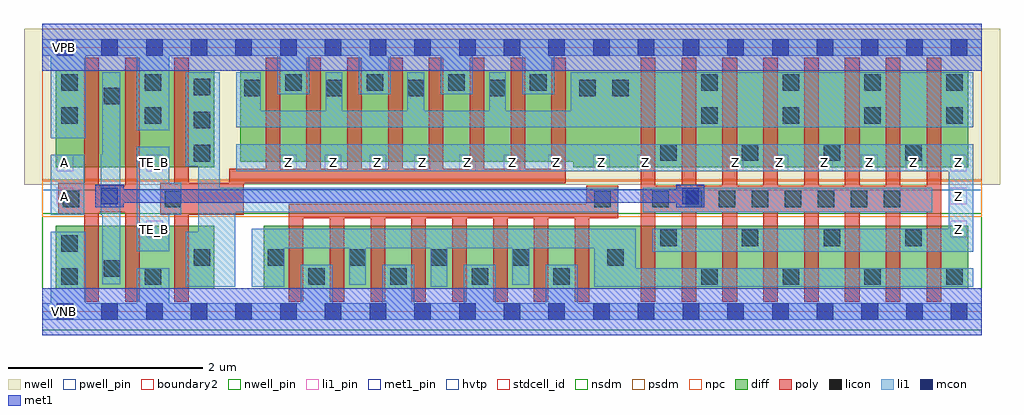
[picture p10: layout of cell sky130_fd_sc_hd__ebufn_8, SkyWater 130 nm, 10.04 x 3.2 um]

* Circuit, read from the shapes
.subckt sky130_fd_sc_hd__ebufn_8 A TE_B VGND VNB VPB VPWR Z
XM1 n1 A VGND VNB sky130_fd_pr__nfet_01v8 w=0.65 l=0.15 m=2
XM2 n2 TE_B VGND VNB sky130_fd_pr__nfet_01v8 w=0.65 l=0.15
XM3 VGND n2 n3 VNB sky130_fd_pr__nfet_01v8 w=0.65 l=0.15 m=8
XM4 Z n1 n3 VNB sky130_fd_pr__nfet_01v8 w=0.65 l=0.15 m=8
XM5 n1 A VPWR VPB sky130_fd_pr__pfet_01v8_hvt w=1 l=0.15 m=2
XM6 n2 TE_B VPWR VPB sky130_fd_pr__pfet_01v8_hvt w=1 l=0.15
XM7 VPWR TE_B n4 VPB sky130_fd_pr__pfet_01v8_hvt w=0.94 l=0.15 m=8
XM8 Z n1 n4 VPB sky130_fd_pr__pfet_01v8_hvt w=1 l=0.15 m=8
.ends

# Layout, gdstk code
import gdstk
lib = gdstk.Library(unit=1e-6, precision=1e-09)
def R(c, l, rs):  # rectangles x0, y0, x1, y1
    for r in rs: c.add(gdstk.rectangle(r[:2], r[2:], *l))
def A(c, l, x, y, w, h, nx, ny, dx, dy):  # array of equal rectangles
    R(c, l, [(x+i*dx, y+j*dy, x+i*dx+w, y+j*dy+h) for i in range(nx) for j in range(ny)])
def P(c, l, *ps):  # polygons
    for p in ps: c.add(gdstk.Polygon(p, *l))
nwell_pin = (64, 16)
nwell = (64, 20)
diff = (65, 20)
poly = (66, 20)
licon = (66, 44)
li1_pin = (67, 16)
li1 = (67, 20)
mcon = (67, 44)
met1_pin = (68, 16)
met1 = (68, 20)
hvtp = (78, 44)
stdcell_id = (81, 4)
nsdm = (93, 44)
psdm = (94, 20)
npc = (95, 20)
pwell_pin = (122, 16)
boundary2 = (236, 0)

sky130_fd_sc_hd__ebufn_8 = lib.new_cell('sky130_fd_sc_hd__ebufn_8')
R(sky130_fd_sc_hd__ebufn_8, nwell_pin, [(0.145,2.635,0.315,2.805)])
R(sky130_fd_sc_hd__ebufn_8, nwell, [(-0.19,1.305,9.85,2.91)])
R(sky130_fd_sc_hd__ebufn_8, diff, [(0.135,0.235,1.765,0.885), (2.275,0.235,9.525,0.885), (0.135,1.485,1.765,2.485)])
P(sky130_fd_sc_hd__ebufn_8, diff, [(5.46,1.485),(5.46,1.545),(2.035,1.545),(2.035,2.485),(9.525,2.485),(9.525,1.485)])
P(sky130_fd_sc_hd__ebufn_8, poly, [(2.535,0.105),(2.535,1.11),(5.595,1.11),(5.595,1.295),(5.925,1.295),(5.925,0.96),(5.625,0.96),(5.625,0.105),(5.475,0.105),(5.475,0.96),(5.205,0.96),(5.205,0.105),(5.055,0.105),(5.055,0.96),(4.785,0.96),(4.785,0.105),(4.635,0.105),(4.635,0.96),(4.365,0.96),(4.365,0.105),(4.215,0.105),(4.215,0.96),(3.945,0.96),(3.945,0.105),(3.795,0.105),(3.795,0.96),(3.525,0.96),(3.525,0.105),(3.375,0.105),(3.375,0.96),(3.105,0.96),(3.105,0.105),(2.955,0.105),(2.955,0.96),(2.685,0.96),(2.685,0.105)],
  [(0.43,0.105),(0.43,0.995),(0.16,0.995),(0.16,1.325),(0.43,1.325),(0.43,2.615),(0.58,2.615),(0.58,1.295),(0.85,1.295),(0.85,2.615),(1,2.615),(1,0.105),(0.85,0.105),(0.85,1.025),(0.58,1.025),(0.58,0.105)],
  [(1.355,0.105),(1.355,0.995),(1.21,0.995),(1.21,1.325),(1.355,1.325),(1.355,2.615),(1.505,2.615),(1.505,1.325),(1.92,1.325),(1.92,1.47),(2.295,1.47),(2.295,2.615),(2.445,2.615),(2.445,1.47),(2.715,1.47),(2.715,2.615),(2.865,2.615),(2.865,1.47),(3.135,1.47),(3.135,2.615),(3.285,2.615),(3.285,1.47),(3.555,1.47),(3.555,2.615),(3.705,2.615),(3.705,1.47),(3.975,1.47),(3.975,2.615),(4.125,2.615),(4.125,1.47),(4.395,1.47),(4.395,2.615),(4.545,2.615),(4.545,1.47),(4.815,1.47),(4.815,2.615),(4.965,2.615),(4.965,1.47),(5.235,1.47),(5.235,2.615),(5.385,2.615),(5.385,1.32),(2.07,1.32),(2.07,0.995),(1.505,0.995),(1.505,0.105)],
  [(6.155,0.105),(6.155,2.615),(6.305,2.615),(6.305,1.295),(6.575,1.295),(6.575,2.615),(6.725,2.615),(6.725,1.295),(6.995,1.295),(6.995,2.615),(7.145,2.615),(7.145,1.295),(7.415,1.295),(7.415,2.615),(7.565,2.615),(7.565,1.295),(7.835,1.295),(7.835,2.615),(7.985,2.615),(7.985,1.295),(8.255,1.295),(8.255,2.615),(8.405,2.615),(8.405,1.295),(8.675,1.295),(8.675,2.615),(8.825,2.615),(8.825,1.295),(9.095,1.295),(9.095,2.615),(9.245,2.615),(9.245,0.105),(9.095,0.105),(9.095,1.025),(8.825,1.025),(8.825,0.105),(8.675,0.105),(8.675,1.025),(8.405,1.025),(8.405,0.105),(8.255,0.105),(8.255,1.025),(7.985,1.025),(7.985,0.105),(7.835,0.105),(7.835,1.025),(7.565,1.025),(7.565,0.105),(7.415,0.105),(7.415,1.025),(7.145,1.025),(7.145,0.105),(6.995,0.105),(6.995,1.025),(6.725,1.025),(6.725,0.105),(6.575,0.105),(6.575,1.025),(6.305,1.025),(6.305,0.105)])
A(sky130_fd_sc_hd__ebufn_8, licon, 2.735, 0.275, 0.17, 0.17, 4, 1, 0.84, 0)
A(sky130_fd_sc_hd__ebufn_8, licon, 6.775, 0.275, 0.17, 0.17, 4, 2, 0.84, 1.66)
A(sky130_fd_sc_hd__ebufn_8, licon, 2.315, 0.475, 0.17, 0.17, 4, 1, 0.84, 0)
A(sky130_fd_sc_hd__ebufn_8, licon, 6.355, 0.675, 0.17, 0.17, 4, 2, 0.84, 0.88)
A(sky130_fd_sc_hd__ebufn_8, licon, 6.275, 1.075, 0.17, 0.17, 8, 1, 0.34, 0)
A(sky130_fd_sc_hd__ebufn_8, licon, 1.555, 1.545, 0.17, 0.17, 1, 3, 0, 0.34)
A(sky130_fd_sc_hd__ebufn_8, licon, 2.075, 2.215, 0.17, 0.17, 4, 1, 0.84, 0)
A(sky130_fd_sc_hd__ebufn_8, licon, 2.495, 2.275, 0.17, 0.17, 4, 1, 0.84, 0)
A(sky130_fd_sc_hd__ebufn_8, licon, 6.775, 2.275, 0.17, 0.17, 4, 1, 0.84, 0)
R(sky130_fd_sc_hd__ebufn_8, licon, [(0.195,0.275,0.365,0.445), (1.05,0.275,1.22,0.445), (0.63,0.36,0.8,0.53), (1.555,0.475,1.725,0.645), (5.81,0.475,5.98,0.645), (0.195,0.615,0.365,0.785), (0.21,1.075,0.38,1.245), (1.26,1.075,1.43,1.245), (5.675,1.075,5.845,1.245), (0.195,1.935,0.365,2.105), (1.05,1.935,1.22,2.105), (0.63,2.135,0.8,2.305), (5.52,2.215,5.69,2.385), (5.86,2.215,6.03,2.385), (0.195,2.275,0.365,2.445), (1.05,2.275,1.22,2.445)])
A(sky130_fd_sc_hd__ebufn_8, li1_pin, 2.445, 1.445, 0.17, 0.17, 8, 1, 0.46, 0)
A(sky130_fd_sc_hd__ebufn_8, li1_pin, 7.04, 1.445, 0.17, 0.17, 6, 1, 0.46, 0)
R(sky130_fd_sc_hd__ebufn_8, li1_pin, [(1.065,0.765,1.235,0.935), (9.34,0.765,9.51,0.935), (0.145,1.105,0.315,1.275), (9.34,1.105,9.51,1.275), (0.145,1.445,0.315,1.615), (1.065,1.445,1.235,1.615), (6.12,1.445,6.29,1.615)])
R(sky130_fd_sc_hd__ebufn_8, li1, [(0.085,0.995,0.43,1.615), (6.175,1.025,9.155,1.275)])
P(sky130_fd_sc_hd__ebufn_8, li1, [(0,-0.085),(0,0.085),(0.085,0.085),(0.085,0.825),(0.445,0.825),(0.445,0.085),(0.97,0.085),(0.97,0.445),(1.305,0.445),(1.305,0.085),(2.655,0.085),(2.655,0.485),(2.985,0.485),(2.985,0.085),(3.495,0.085),(3.495,0.485),(3.825,0.485),(3.825,0.085),(4.335,0.085),(4.335,0.485),(4.665,0.485),(4.665,0.085),(5.175,0.085),(5.175,0.485),(5.505,0.485),(5.505,0.085),(9.66,0.085),(9.66,-0.085)],
  [(0.085,1.785),(0.085,2.635),(0,2.635),(0,2.805),(9.66,2.805),(9.66,2.635),(5.265,2.635),(5.265,2.235),(4.935,2.235),(4.935,2.635),(4.425,2.635),(4.425,2.235),(4.095,2.235),(4.095,2.635),(3.585,2.635),(3.585,2.235),(3.255,2.235),(3.255,2.635),(2.745,2.635),(2.745,2.235),(2.415,2.235),(2.415,2.635),(1.305,2.635),(1.305,1.865),(0.97,1.865),(0.97,2.635),(0.445,2.635),(0.445,1.785)],
  [(2.155,0.255),(2.155,0.855),(6.105,0.855),(6.105,0.445),(9.575,0.445),(9.575,0.255),(5.675,0.255),(5.675,0.655),(5.005,0.655),(5.005,0.275),(4.835,0.275),(4.835,0.655),(4.165,0.655),(4.165,0.255),(3.995,0.255),(3.995,0.655),(3.325,0.655),(3.325,0.275),(3.155,0.275),(3.155,0.655),(2.485,0.655),(2.485,0.255)],
  [(6.275,0.615),(6.275,0.855),(9.325,0.855),(9.325,1.445),(1.995,1.445),(1.995,1.725),(9.575,1.725),(9.575,0.615)],
  [(1.995,1.895),(1.995,2.465),(2.245,2.465),(2.245,2.065),(2.915,2.065),(2.915,2.465),(3.085,2.465),(3.085,2.065),(3.755,2.065),(3.755,2.465),(3.925,2.465),(3.925,2.065),(4.595,2.065),(4.595,2.465),(4.765,2.465),(4.765,2.065),(5.435,2.065),(5.435,2.465),(9.575,2.465),(9.575,1.895)],
  [(1.475,0.255),(1.475,0.825),(1.6,0.825),(1.6,1.495),(1.475,1.495),(1.475,2.465),(1.825,2.465),(1.825,1.275),(5.925,1.275),(5.925,1.025),(1.985,1.025),(1.985,0.255)],
  [(0.97,0.62),(0.97,1.695),(1.305,1.695),(1.305,1.325),(1.43,1.325),(1.43,0.995),(1.305,0.995),(1.305,0.62)],
  [(0.615,0.28),(0.615,0.995),(0.6,0.995),(0.6,1.615),(0.615,1.615),(0.615,2.465),(0.8,2.465),(0.8,0.28)])
A(sky130_fd_sc_hd__ebufn_8, mcon, 0.145, -0.085, 0.17, 0.17, 21, 2, 0.46, 2.72)
R(sky130_fd_sc_hd__ebufn_8, mcon, [(0.605,1.105,0.775,1.275), (6.58,1.105,6.75,1.275)])
R(sky130_fd_sc_hd__ebufn_8, met1_pin, [(0.145,-0.085,0.315,0.085), (0.145,2.635,0.315,2.805)])
R(sky130_fd_sc_hd__ebufn_8, met1, [(0,-0.24,9.66,0.24), (0,2.48,9.66,2.96)])
P(sky130_fd_sc_hd__ebufn_8, met1, [(0.545,1.075),(0.545,1.305),(0.835,1.305),(0.835,1.26),(6.52,1.26),(6.52,1.305),(6.81,1.305),(6.81,1.075),(6.52,1.075),(6.52,1.12),(0.835,1.12),(0.835,1.075)])
R(sky130_fd_sc_hd__ebufn_8, hvtp, [(0,1.25,9.66,2.72)])
R(sky130_fd_sc_hd__ebufn_8, stdcell_id, [(0,0,9.66,2.72)])
R(sky130_fd_sc_hd__ebufn_8, nsdm, [(0,-0.19,9.66,1.015)])
R(sky130_fd_sc_hd__ebufn_8, psdm, [(0,1.355,9.66,2.91)])
R(sky130_fd_sc_hd__ebufn_8, npc, [(0,0.975,9.66,1.345)])
R(sky130_fd_sc_hd__ebufn_8, pwell_pin, [(0.145,-0.085,0.315,0.085)])
R(sky130_fd_sc_hd__ebufn_8, boundary2, [(0,0,9.66,2.72)])
sky130_fd_sc_hd__ebufn_8.add(gdstk.Label('A', (0.23,1.19), layer=67, texttype=5))
sky130_fd_sc_hd__ebufn_8.add(gdstk.Label('A', (0.23,1.53), layer=67, texttype=5))
sky130_fd_sc_hd__ebufn_8.add(gdstk.Label('Z', (9.425,0.85), layer=67, texttype=5))
sky130_fd_sc_hd__ebufn_8.add(gdstk.Label('Z', (9.425,1.19), layer=67, texttype=5))
sky130_fd_sc_hd__ebufn_8.add(gdstk.Label('Z', (4.37,1.53), layer=67, texttype=5))
sky130_fd_sc_hd__ebufn_8.add(gdstk.Label('Z', (4.83,1.53), layer=67, texttype=5))
sky130_fd_sc_hd__ebufn_8.add(gdstk.Label('Z', (5.29,1.53), layer=67, texttype=5))
sky130_fd_sc_hd__ebufn_8.add(gdstk.Label('Z', (5.75,1.53), layer=67, texttype=5))
sky130_fd_sc_hd__ebufn_8.add(gdstk.Label('Z', (2.53,1.53), layer=67, texttype=5))
sky130_fd_sc_hd__ebufn_8.add(gdstk.Label('Z', (2.99,1.53), layer=67, texttype=5))
sky130_fd_sc_hd__ebufn_8.add(gdstk.Label('Z', (3.45,1.53), layer=67, texttype=5))
sky130_fd_sc_hd__ebufn_8.add(gdstk.Label('Z', (3.91,1.53), layer=67, texttype=5))
sky130_fd_sc_hd__ebufn_8.add(gdstk.Label('TE_B', (1.15,0.85), layer=67, texttype=5))
sky130_fd_sc_hd__ebufn_8.add(gdstk.Label('Z', (6.205,1.53), layer=67, texttype=5))
sky130_fd_sc_hd__ebufn_8.add(gdstk.Label('Z', (7.125,1.53), layer=67, texttype=5))
sky130_fd_sc_hd__ebufn_8.add(gdstk.Label('TE_B', (1.15,1.53), layer=67, texttype=5))
sky130_fd_sc_hd__ebufn_8.add(gdstk.Label('Z', (9.425,1.53), layer=67, texttype=5))
sky130_fd_sc_hd__ebufn_8.add(gdstk.Label('Z', (8.965,1.53), layer=67, texttype=5))
sky130_fd_sc_hd__ebufn_8.add(gdstk.Label('Z', (7.585,1.53), layer=67, texttype=5))
sky130_fd_sc_hd__ebufn_8.add(gdstk.Label('Z', (8.045,1.53), layer=67, texttype=5))
sky130_fd_sc_hd__ebufn_8.add(gdstk.Label('Z', (8.505,1.53), layer=67, texttype=5))
sky130_fd_sc_hd__ebufn_8.add(gdstk.Label('VNB', (0.23,0), layer=64, texttype=59))
sky130_fd_sc_hd__ebufn_8.add(gdstk.Label('VPB', (0.23,2.72), layer=64, texttype=5))
sky130_fd_sc_hd__ebufn_8.add(gdstk.Label('VGND', (0.23,0), layer=68, texttype=5))
sky130_fd_sc_hd__ebufn_8.add(gdstk.Label('VPWR', (0.23,2.72), layer=68, texttype=5))
sky130_fd_sc_hd__ebufn_8.add(gdstk.Label('ebufn_8', (0,0), layer=83, texttype=44))

lib.write_gds('sky130_fd_sc_hd__ebufn_8.gds')
